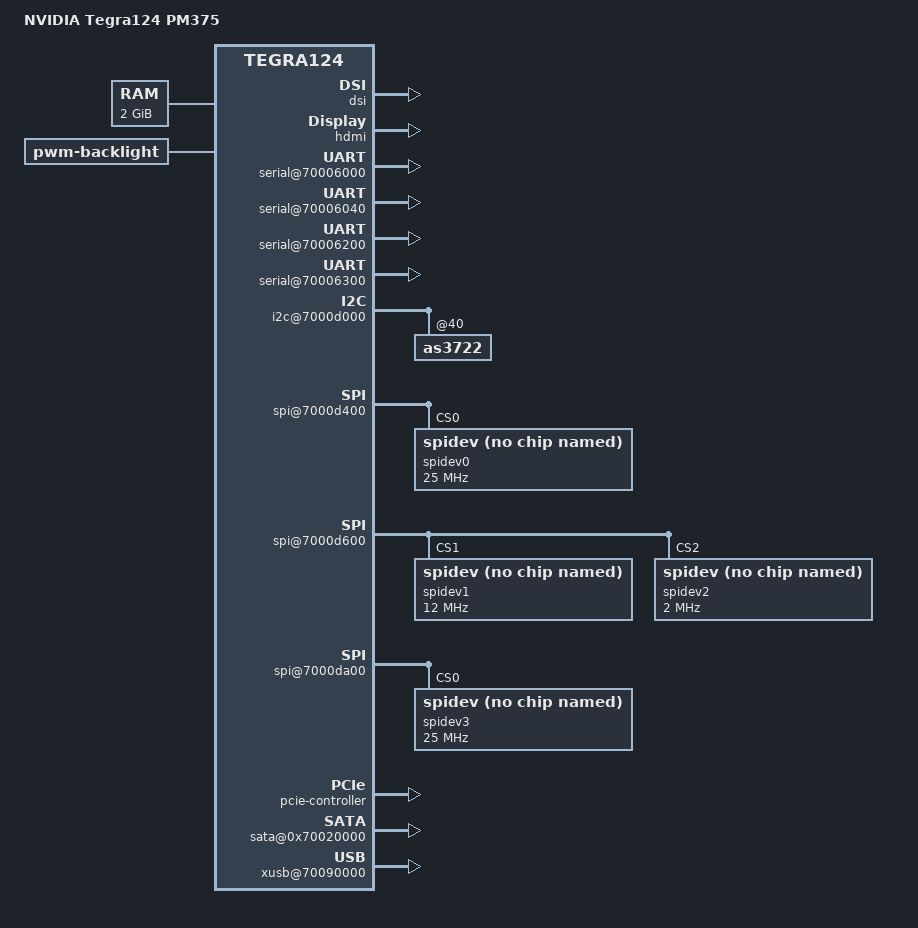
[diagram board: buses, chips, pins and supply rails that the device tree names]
/*
 * arch/arm/boot/dts/tegra124-apalis-eval.dts
 *
 * Copyright (c) 2017, NVIDIA CORPORATION.  All rights reserved.
 *
 * This program is free software; you can redistribute it and/or modify
 * it under the terms of the GNU General Public License as published by
 * the Free Software Foundation; either version 2 of the License, or
 * (at your option) any later version.
 *
 * This program is distributed in the hope that it will be useful, but WITHOUT
 * ANY WARRANTY; without even the implied warranty of MERCHANTABILITY or
 * FITNESS FOR A PARTICULAR PURPOSE.  See the GNU General Public License for
 * more details.
 *
 * You should have received a copy of the GNU General Public License along
 * with this program; if not, write to the Free Software Foundation, Inc.,
 * 51 Franklin Street, Fifth Floor, Boston, MA  02110-1301, USA.
 */

/dts-v1/;

#include <dt-bindings/display/tegra-dc.h>

#include "tegra124-soc-shield.dtsi"
#include "tegra124-platforms/tegra124-apalis-keys.dtsi"
#include "tegra124-platforms/tegra124-apalis-gpio.dtsi"
#include "tegra124-platforms/tegra124-apalis-pinmux.dtsi"
#include "tegra124-platforms/tegra124-apalis-pmic.dtsi"
#include "tegra124-platforms/tegra124-apalis-fixed.dtsi"
#include "panel-p-wuxga-10-1.dtsi"

/ {
	model = "NVIDIA Tegra124 PM375";
	compatible = "nvidia,jetson-tk1", "nvidia,tegra124";
	nvidia,dtsfilename = __FILE__;
	#address-cells = <2>;
	#size-cells = <2>;

	chosen {
		bootargs = "tegraid=40.0.0.00.00 vmalloc=256M video=tegrafb console=ttyS0,115200n8 earlyprintk";
	};

	firmware {
		android {
			compatible = "android,firmware";
			hardware = "tegra";
		};
	};

	psci {
		status = "disabled";
	};

	host1x {
		/* tegradc.0 */
		dc@54200000 {
			status = "okay";
			nvidia,dc-flags = <TEGRA_DC_FLAG_ENABLED>;
			nvidia,emc-clk-rate = <204000000>;
			nvidia,cmu-enable = <1>;
			nvidia,low-v-win = <0x2>;
			nvidia,fb-bpp = <32>; /* bits per pixel */
			nvidia,fb-flags = <TEGRA_FB_FLIP_ON_PROBE>;
		};
		/* tegradc.1 */
		dc@54240000 {
			status = "okay";
			nvidia,dc-flags = <TEGRA_DC_FLAG_ENABLED>;
			nvidia,emc-clk-rate = <300000000>;
			nvidia,fb-bpp = <32>; /* bits per pixel */
			nvidia,fb-flags = <TEGRA_FB_FLIP_ON_PROBE>;
			avdd_hdmi-supply = <&as3722_sd4>;
			avdd_hdmi_pll-supply = <&as3722_sd4>;
			vdd_hdmi_5v0-supply = <&vdd_hdmi>;
		};
		dsi {
			nvidia,dsi-controller-vs = <1>;
			status = "okay";
			panel-p-wuxga-10-1 {
				nvidia,dsi-panel-rst-gpio = <&gpio TEGRA_GPIO(H, 3) 0>; /* PH3 */
				nvidia,dsi-panel-bl-pwm-gpio = <&gpio TEGRA_GPIO(H, 1) 0>; /* PH1 */
			};
		};

		hdmi {
			status = "okay";
			nvidia,ddc-i2c-bus = <&hdmi_ddc>;
			nvidia,hpd-gpio = <&gpio TEGRA_GPIO(N, 7) 1>; /* PN7 */
			hdmi-display {
				status = "okay";
				disp-default-out {
					nvidia,out-type = <TEGRA_DC_OUT_HDMI>;
					nvidia,out-flags = <TEGRA_DC_OUT_HOTPLUG_HIGH>;
					nvidia,out-parent-clk = "pll_d2";
					nvidia,out-max-pixclk = <3367>; /* KHZ2PICOS(297000) */
					nvidia,out-align = <TEGRA_DC_ALIGN_MSB>;
					nvidia,out-order = <TEGRA_DC_ORDER_RED_BLUE>;
					nvidia,out-xres = <1920>;
					nvidia,out-yres = <1080>;
				};
				display-timings {
				      1920x1080-24 {
						clock-frequency = <148500000>;
						hactive = <1920>;
						vactive = <1080>;
						hfront-porch = <25>;
						hback-porch = <25>;
						hsync-len = <25>;
						vfront-porch = <2>;
						vback-porch = <2>;
						vsync-len = <2>;
						nvidia,h-ref-to-sync = <1>;
						nvidia,v-ref-to-sync = <1>;
					};
				};
				tmds-config {
					tmds-cfg@0 {
						version = <1 0>;
						pclk = <27000000>;
						pll0 = <0x01003010>;
						pll1 = <0x00301b00>;
						pe-current = <0x00000000>;
						drive-current = <0x1f1f1f1f>;
						peak-current = <0x03030303>;
						pad-ctls0-mask = <0xfffff0ff>;
						pad-ctls0-setting = <0x00000400>;
					};
					tmds-cfg@1 {
						version = <1 0>;
						pclk = <74250000>;
						pll0 = <0x01003110>;
						pll1 = <0x00301500>;
						pe-current = <0x08080808>;
						drive-current = <0x2d2d2d2d>;
						peak-current = <0x00000000>;
						pad-ctls0-mask = <0xfffff0ff>;
						pad-ctls0-setting = <0x00000400>;
					};
					tmds-cfg@2 {
						version = <1 0>;
						pclk = <148500000>;
						pll0 = <0x01003310>;
						pll1 = <0x00301500>;
						pe-current = <0x00000000>;
						drive-current = <0x2d2d2d2d>;
						peak-current = <0x05050505>;
						pad-ctls0-mask = <0xfffff0ff>;
						pad-ctls0-setting = <0x00000400>;
					};
					tmds-cfg@3 {
						version = <1 0>;
						pclk = <0x7fffffff>;
						pll0 = <0x01003f10>;
						pll1 = <0x00300f00>;
						pe-current = <0x00000000>;
						drive-current = <0x37373737>;
						peak-current = <0x17171717>;
						pad-ctls0-mask = <0xfffff0ff>;
						pad-ctls0-setting = <0x00000600>;
					};
				};
			};
		};
	};

	hdmi_ddc: i2c@7000c400 {
		clock-frequency = <100000>;
	};

	pinmux@70000868 {
                pinctrl-names = "default", "drive", "unused", "suspend";
                pinctrl-3 = <&pinmux_suspend>;

                /* Change the pin dap_mclk1_req to required configurations */
                unused_lowpower {
                        dap_mclk1_req_pee2 {
                        nvidia,pins = "dap_mclk1_req_pee2";
                        nvidia,function = "sata";
                        nvidia,enable-input = <TEGRA_PIN_DISABLE>;
                        nvidia,pull = <TEGRA_PIN_PULL_NONE>;
                        nvidia,tristate = <TEGRA_PIN_DISABLE>;
                        };
                };

                /* On suspend, make dap_mclk1_req to pull up */
                pinmux_suspend: pins_on_suspend {
                dap_mclk1_req_pee2 {
                        nvidia,pins = "dap_mclk1_req_pee2";
                        nvidia,pull = <TEGRA_PIN_PULL_UP>;
                        };
                };
        };

	/* Apalis UART1 */
	serial@70006000 {
		compatible = "nvidia,tegra114-uart", "nvidia,tegra20-uart";
		status = "okay";
	};

	/* Apalis UART2 */
	serial@70006040 {
		compatible = "nvidia,tegra114-hsuart";
		status = "okay";
	};

	/* Apalis UART3 */
	serial@70006200 {
		compatible = "nvidia,tegra114-hsuart";
		status = "okay";
	};

	/* Apalis UART4 */
	serial@70006300 {
		compatible = "nvidia,tegra114-hsuart";
		status = "okay";

	};

	i2c@7000d000 {
		nvidia,bit-banging-xfer-after-shutdown;

		as3722@40 {
			adc_extcon {
				ams,extcon-name = "as3722-extcon";
			};
		};
	};

	memory@0x80000000 {
		device_type = "memory";
		reg = <0x0 0x80000000 0x0 0x80000000>;
	};

	/* TBD */
	camera-pcl {
		profiles {
			ov4689@2_0036 {
				use_of_node = "yes";
				reset-gpios = <&gpio TEGRA_GPIO(BB, 3) 0>;
				cam1-gpios = <&gpio TEGRA_GPIO(BB, 5) 0>;
			};
			imx185@2_001A {
				use-of-node = "yes";
				cam1-gpios = <&gpio TEGRA_GPIO(BB, 5) 0>;
			};
		};
		dpd {
			default-enable;
		};
	};

	/* SPI1: Apalis SPI1 */
	spi@7000d400 {
		status = "okay";
		spi-max-frequency = <25000000>;

		spidev0: spidev@0 {
			compatible = "spidev";
			reg = <0>;
			spi-max-frequency = <25000000>;
		};
	};

	/* SPI2: MCU SPI */
	spi@7000d600 {
		status = "okay";
		spi-max-frequency = <25000000>;

		spidev1: spidev@1 {
			compatible = "spidev";
			reg = <1>;
			spi-max-frequency = <12000000>;
		};

		spidev2: spidev@2 {
			compatible = "spidev";
			reg = <2>;
			spi-max-frequency = <2000000>;
		};
	};

	/* SPI4: Apalis SPI2 */
	spi@7000da00 {
		status = "okay";
		spi-max-frequency = <25000000>;

		spidev3: spidev@0 {
			compatible = "spidev";
			reg = <0>;
			spi-max-frequency = <25000000>;
		};
	};

	pcie-controller {
		nvidia,port0_status = <1>;
		nvidia,port1_status = <1>;
        hvdd_pex-supply = <&reg_3v3>;
        avdd_pex_pll-supply = <&as3722_sd4>;
		status = "okay";
	};

	sata@0x70020000 {
		nvidia,enable-sata-port;
		nvidia,sata-connector-type=<STANDARD_SATA>;
		vdd_sata-supply = <&as3722_sd4>;
		avdd_sata_pll-supply =<&as3722_sd4>;
		avdd_sata-supply = <&as3722_sd4>;
		hvdd_sata-supply = <&reg_3v3>;
		vddio_pex_sata-supply = <&reg_3v3>;
		status = "okay";
	};

	/* TBD */
	xusb@70090000 {
		/* nvidia,uses_external_pmic;
		nvidia,gpio_controls_muxed_ss_lanes; */
		nvidia,gpio_ss1_sata = <0>;
		nvidia,portmap = <0x0703>; /* SSP0, SSP1 USB2P0, USB2P1, USB2P2 */
		nvidia,ss_portmap = <0x72>; /* SSP0 on USB2P2, TBD: SSP1 on USB2P0 */
		nvidia,lane_owner = <6>; /* USB3P0 USB3P1 */
		nvidia,ulpicap = <0>; /* No ulpi support. can we remove */
		/* nvidia,supply_utmi_vbuses = "usb_vbus0", "usb_vbus1", "usb_vbus2";
		nvidia,supply_s3p3v = "hvdd_usb";
		nvidia,supply_s1p8v = "avdd_pll_utmip";
		nvidia,supply_s1p05v = "avddio_usb"; */
		status = "okay";
	};

	backlight {
		compatible = "pwm-backlight";
		status = "okay";
	};
};
